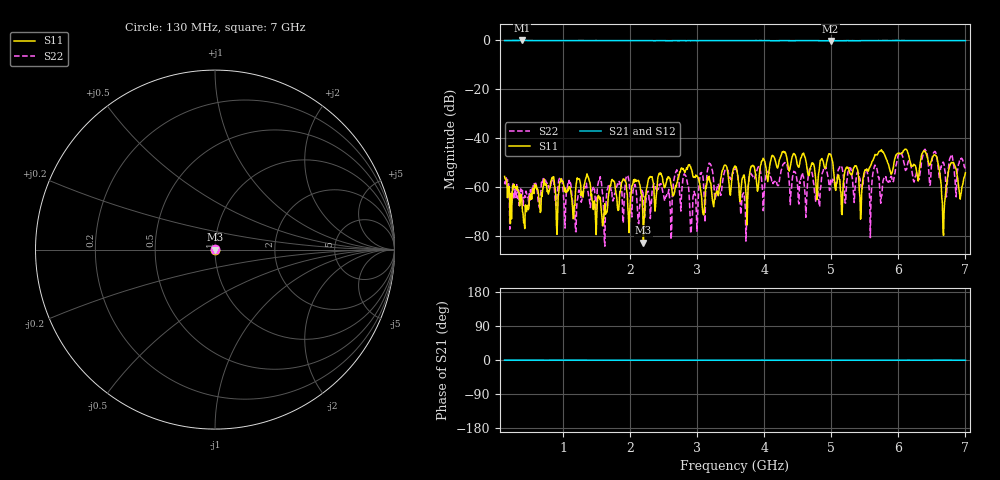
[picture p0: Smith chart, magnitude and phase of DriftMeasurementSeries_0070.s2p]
# Hz S RI R 50.000000
! Metas.Vna.Tools, 2.8.8664.20301
! Metas.Vna.Data, 2.8.8664.20285
! Created: UTC 2024.02.11 10:08:36
! FREQ  re:S1,1  im:S1,1  re:S2,1  im:S2,1  re:S1,2  im:S1,2  re:S2,2  im:S2,2
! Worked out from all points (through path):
!   801 points, 130 MHz to 7 GHz, reference 50 ohm
!   highest |S21| = 0.00 dB at 387.6 MHz (marker M1); lowest = -0.2 dB at 4.991 GHz (marker M2)
!   lowest |S11| = -82.9 dB at 2.2 GHz (marker M3), VSWR 1.00, Z = 50 - j0.00591 ohm
!   |S11| at or under -10 dB: start of sweep to end of sweep
!   |S22| runs from -84.4 to -44.6 dB; largest |S21 - S12| = 0.019
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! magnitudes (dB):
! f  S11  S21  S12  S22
! 130 MHz  -55.8  0.0  0.0  -58.9
! 387.6 MHz  -66.0  0.0  0.0  -62.0
! 1.281 GHz  -62.1  0.0  0.0  -65.5
! 1.616 GHz  -70.1  -0.1  0.0  -81.2
! 1.736 GHz  -57.0  -0.1  0.0  -65.2
! 2.105 GHz  -57.6  -0.1  0.0  -66.8
! 2.2 GHz  -82.9  -0.1  0.0  -65.6
! 2.423 GHz  -55.5  -0.1  0.0  -61.0
! 2.826 GHz  -53.3  -0.1  0.0  -55.5
! 2.921 GHz  -53.2  -0.1  0.0  -73.2
! 3.084 GHz  -70.6  -0.1  0.0  -55.3
! 3.565 GHz  -51.4  -0.1  0.0  -52.8
! 3.711 GHz  -57.5  -0.1  0.0  -66.3
! 3.909 GHz  -60.8  0.0  0.0  -52.0
! 4.716 GHz  -50.2  -0.1  0.0  -54.5
! 4.991 GHz  -46.7  -0.2  0.0  -57.3
! 5.154 GHz  -70.9  -0.1  0.0  -51.6
! 5.858 GHz  -51.3  0.0  0.0  -57.8
! 6.545 GHz  -47.0  -0.1  0.0  -45.5
! 6.682 GHz  -70.5  -0.1  0.0  -50.8
! 6.785 GHz  -50.2  -0.1  0.0  -46.8
! 7 GHz  -54.3  -0.1  0.0  -52.5
